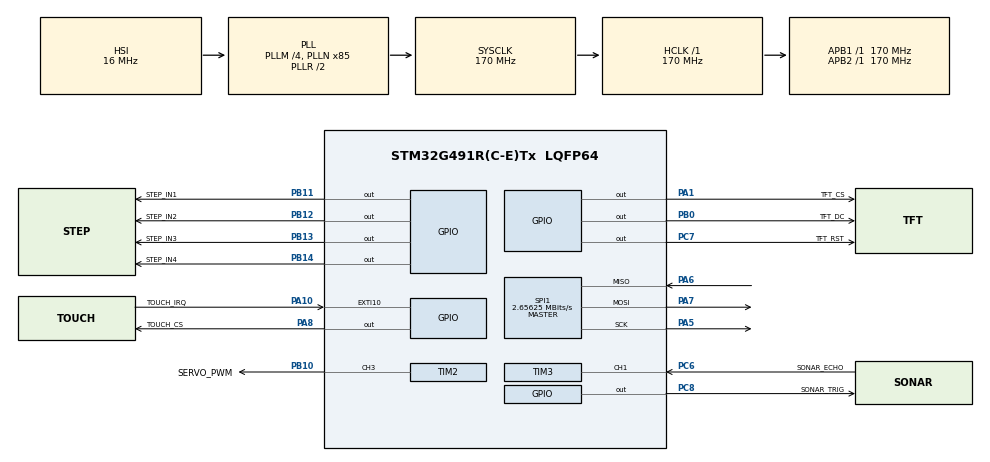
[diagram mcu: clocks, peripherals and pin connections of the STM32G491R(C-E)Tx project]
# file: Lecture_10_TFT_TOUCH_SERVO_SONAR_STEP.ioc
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Dma.Request0=SPI1_TX
Dma.Request1=SPI1_RX
Dma.SPI1_RX.1.Direction=DMA_PERIPH_TO_MEMORY
Dma.SPI1_RX.1.EventEnable=DISABLE
Dma.SPI1_RX.1.Instance=DMA1_Channel2
Dma.SPI1_RX.1.MemDataAlignment=DMA_MDATAALIGN_BYTE
Dma.SPI1_RX.1.MemInc=DMA_MINC_ENABLE
Dma.SPI1_RX.1.Mode=DMA_NORMAL
Dma.SPI1_RX.1.PeriphDataAlignment=DMA_PDATAALIGN_BYTE
Dma.SPI1_RX.1.PeriphInc=DMA_PINC_DISABLE
Dma.SPI1_RX.1.Polarity=HAL_DMAMUX_REQ_GEN_RISING
Dma.SPI1_RX.1.Priority=DMA_PRIORITY_LOW
Dma.SPI1_RX.1.RequestNumber=1
Dma.SPI1_RX.1.SignalID=NONE
Dma.SPI1_RX.1.SyncEnable=DISABLE
Dma.SPI1_RX.1.SyncPolarity=HAL_DMAMUX_SYNC_NO_EVENT
Dma.SPI1_RX.1.SyncRequestNumber=1
Dma.SPI1_RX.1.SyncSignalID=NONE
Dma.SPI1_TX.0.Direction=DMA_MEMORY_TO_PERIPH
Dma.SPI1_TX.0.EventEnable=DISABLE
Dma.SPI1_TX.0.Instance=DMA1_Channel1
Dma.SPI1_TX.0.MemDataAlignment=DMA_MDATAALIGN_BYTE
Dma.SPI1_TX.0.MemInc=DMA_MINC_ENABLE
Dma.SPI1_TX.0.Mode=DMA_NORMAL
Dma.SPI1_TX.0.PeriphDataAlignment=DMA_PDATAALIGN_BYTE
Dma.SPI1_TX.0.PeriphInc=DMA_PINC_DISABLE
Dma.SPI1_TX.0.Polarity=HAL_DMAMUX_REQ_GEN_RISING
Dma.SPI1_TX.0.Priority=DMA_PRIORITY_HIGH
Dma.SPI1_TX.0.RequestNumber=1
Dma.SPI1_TX.0.SignalID=NONE
Dma.SPI1_TX.0.SyncEnable=DISABLE
Dma.SPI1_TX.0.SyncPolarity=HAL_DMAMUX_SYNC_NO_EVENT
Dma.SPI1_TX.0.SyncRequestNumber=1
Dma.SPI1_TX.0.SyncSignalID=NONE
Mcu.Family=STM32G4
Mcu.Name=STM32G491R(C-E)Tx
Mcu.Package=LQFP64
NVIC.DMA1_Channel1_IRQn=true\:0\:0\:false\:false\:true\:false\:true\:true
NVIC.DMA1_Channel2_IRQn=true\:0\:0\:false\:false\:true\:false\:true\:true
NVIC.EXTI15_10_IRQn=true\:0\:0\:false\:false\:true\:true\:true\:true
NVIC.PriorityGroup=NVIC_PRIORITYGROUP_4
NVIC.TIM3_IRQn=true\:0\:0\:false\:false\:true\:true\:true\:true
PA1.GPIO_Label=TFT_CS
PA1.GPIO_PuPd=GPIO_PULLUP
PA1.PinState=GPIO_PIN_SET
PA1.Signal=GPIO_Output
PA10.GPIO_Label=TOUCH_IRQ
PA10.GPIO_PuPd=GPIO_PULLUP
PA10.Signal=GPXTI10
PA13.GPIO_Label=T_SWDIO
PA13.Signal=SYS_JTMS-SWDIO
PA14.GPIO_Label=T_SWCLK
PA14.Signal=SYS_JTCK-SWCLK
PA2.GPIO_Label=LPUART1_TX [STLINKV3E_VCP_RX]
PA2.Signal=LPUART1_TX
PA3.GPIO_Label=LPUART1_RX [STLINKV3E_VCP_TX]
PA3.Signal=LPUART1_RX
PA5.Mode=Full_Duplex_Master
PA5.Signal=SPI1_SCK
PA6.Mode=Full_Duplex_Master
PA6.Signal=SPI1_MISO
PA7.Mode=Full_Duplex_Master
PA7.Signal=SPI1_MOSI
PA8.GPIO_Label=TOUCH_CS
PA8.GPIO_PuPd=GPIO_PULLUP
PA8.PinState=GPIO_PIN_SET
PA8.Signal=GPIO_Output
PB0.GPIO_Label=TFT_DC
PB0.Signal=GPIO_Output
PB10.GPIO_Label=SERVO_PWM
PB10.Signal=S_TIM2_CH3
PB11.GPIO_Label=STEP_IN1
PB11.Signal=GPIO_Output
PB12.GPIO_Label=STEP_IN2
PB12.Signal=GPIO_Output
PB13.GPIO_Label=STEP_IN3
PB13.Signal=GPIO_Output
PB14.GPIO_Label=STEP_IN4
PB14.Signal=GPIO_Output
PB3.GPIO_Label=T_SWO
PB3.Signal=SYS_JTDO-SWO
PC14-OSC32_IN.GPIO_Label=RCC_OSC32_IN
PC14-OSC32_IN.Signal=RCC_OSC32_IN
PC15-OSC32_OUT.GPIO_Label=RCC_OSC32_OUT
PC15-OSC32_OUT.Signal=RCC_OSC32_OUT
PC6.GPIO_Label=SONAR_ECHO
PC6.Signal=S_TIM3_CH1
PC7.GPIO_Label=TFT_RST
PC7.GPIO_PuPd=GPIO_PULLUP
PC7.PinState=GPIO_PIN_SET
PC7.Signal=GPIO_Output
PC8.GPIO_Label=SONAR_TRIG
PC8.Signal=GPIO_Output
PF0-OSC_IN.GPIO_Label=RCC_OSC_IN
PF0-OSC_IN.Signal=RCC_OSC_IN
PF1-OSC_OUT.GPIO_Label=RCC_OSC_OUT
PF1-OSC_OUT.Signal=RCC_OSC_OUT
ProjectManager.HeapSize=0x200
ProjectManager.StackSize=0x400
ProjectManager.TargetToolchain=STM32CubeIDE
RCC.ADC12Freq_Value=170000000
RCC.ADC345Freq_Value=170000000
RCC.AHBFreq_Value=170000000
RCC.APB1Freq_Value=170000000
RCC.APB1TimFreq_Value=170000000
RCC.APB2Freq_Value=170000000
RCC.APB2TimFreq_Value=170000000
RCC.CortexFreq_Value=170000000
RCC.EXTERNAL_CLOCK_VALUE=12288000
RCC.HCLKFreq_Value=170000000
RCC.HSE_VALUE=24000000
RCC.HSI48_VALUE=48000000
RCC.HSI_VALUE=16000000
RCC.LSE_VALUE=32768
RCC.PLLM=RCC_PLLM_DIV4
RCC.PLLN=85
RCC.RTCClockSelection=RCC_RTCCLKSOURCE_LSE
RCC.SYSCLKFreq_VALUE=170000000
RCC.SYSCLKSource=RCC_SYSCLKSOURCE_PLLCLK
RCC.USBFreq_Value=48000000
RCC.VCOOutputFreq_Value=340000000
SH.S_TIM2_CH3.0=TIM2_CH3,PWM Generation3 CH3
SH.S_TIM3_CH1.0=TIM3_CH1,Input_Capture1_from_TI1
SPI1.BaudRatePrescaler=SPI_BAUDRATEPRESCALER_64
SPI1.CalculateBaudRate=2.65625 MBits/s
SPI1.DataSize=SPI_DATASIZE_8BIT
SPI1.Direction=SPI_DIRECTION_2LINES
SPI1.Mode=SPI_MODE_MASTER
SPI1.VirtualType=VM_MASTER
TIM2.Channel-PWM\ Generation3\ CH3=TIM_CHANNEL_3
TIM2.PeriodNoDither=19999
TIM2.Prescaler=169
TIM3.Channel-Input_Capture1_from_TI1=TIM_CHANNEL_1
TIM3.ICPolarity_CH1=TIM_INPUTCHANNELPOLARITY_BOTHEDGE
TIM3.Prescaler=169
VP_SYS_VS_DBSignals.Mode=DisableDeadBatterySignals
VP_TIM2_VS_ClockSourceINT.Mode=Internal
VP_TIM3_VS_ClockSourceINT.Mode=Internal
board=NUCLEO-G491RE

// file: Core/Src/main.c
/* USER CODE BEGIN Header */
/**
 ******************************************************************************
 * @file           : main.c
 * @brief          : Project 3 - scanning sonar with pointer
 ******************************************************************************
 */
/* USER CODE END Header */
#include "main.h"
#include "dma.h"
#include "spi.h"
#include "tim.h"
#include "gpio.h"

/* USER CODE BEGIN Includes */
#include "flash_config.h"
#include "gui_screens.h"
#include "ili9341.h"
#include "scan_engine.h"
#include "servo.h"
#include "sonar.h"
#include "stepper_map.h"
#include "target_finder.h"
#include "xpt2046.h"
/* USER CODE END Includes */

/* USER CODE BEGIN PV */
static SonarConfig_t app_config;
static ScanState_t scan_state;
static TargetResult_t last_target;
static float last_measured_dist = 0.0f;
static uint16_t last_servo_pos = 0U;
/* USER CODE END PV */

void SystemClock_Config(void);

/* USER CODE BEGIN PFP */
static void App_HandleScanLogic(GUI_Action_t action);
/* USER CODE END PFP */

int main(void)
{
  GUI_Action_t gui_action;

  HAL_Init();
  SystemClock_Config();

  MX_GPIO_Init();
  MX_DMA_Init();
  MX_SPI1_Init();
  MX_TIM2_Init();
  MX_TIM3_Init();

  /* USER CODE BEGIN 2 */
  HAL_GPIO_WritePin(TFT_CS_GPIO_Port, TFT_CS_Pin, GPIO_PIN_SET);
  HAL_GPIO_WritePin(TOUCH_CS_GPIO_Port, TOUCH_CS_Pin, GPIO_PIN_SET);

  ILI9341_Init(&hspi1);
  ILI9341_FillScreen(ILI9341_BLACK);
  XPT2046_Init(&hspi1);

  Servo_Init(&htim2, TIM_CHANNEL_3);
  Sonar_Init(&htim3, TIM_CHANNEL_1);
  StepperMap_Init();

  (void)FlashConfig_Load(&app_config);
  XPT2046_ApplyCalibration(&app_config);
  StepperMap_SetPosition(app_config.stepper_left);

  Scan_Init(&scan_state);
  Target_ResetResult(&last_target);

  GUI_Init(&app_config);
  /* USER CODE END 2 */

  while (1)
  {
    if (GUI_GetScreen() == GUI_SCREEN_DIAGNOSTIC)
    {
      XPT2046_Task();
    }

    gui_action = GUI_Task(&app_config);
    App_HandleScanLogic(gui_action);

    if (GUI_GetScreen() == GUI_SCREEN_SCAN)
    {
      if (Scan_Task(&scan_state, &app_config) != 0U)
      {
        uint8_t bar = scan_state.current_bar;
        TargetResult_t live_target;
        TargetResult_t closest_target;
        uint8_t count = (uint8_t)(bar + 1U);

        last_measured_dist = scan_state.distances[bar];
        last_servo_pos = scan_state.servo_positions[bar];

        live_target.found = scan_state.valid[bar];
        live_target.bar_index = bar;
        live_target.distance_cm = scan_state.distances[bar];
        live_target.servo_pos = scan_state.servo_positions[bar];

        closest_target = Target_FindClosest(scan_state.distances,
                                            scan_state.valid,
                                            scan_state.servo_positions,
                                            count);

        GUI_DrawScanFrame(&scan_state, &live_target, &closest_target);
      }

      if (scan_state.sweep_done != 0U)
      {
        last_target = Target_FindClosest(scan_state.distances,
                                         scan_state.valid,
                                         scan_state.servo_positions,
                                         SCAN_BAR_COUNT);

        if (last_target.found != 0U)
        {
          StepperMap_GotoServo(last_target.servo_pos, &app_config);
        }

        GUI_DrawScanFrame(&scan_state, &last_target, &last_target);
        scan_state.sweep_done = 0U;

        if (GUI_IsContinuousScan() != 0U)
        {
          Scan_Start(&scan_state, &app_config);
        }
      }
    }

    GUI_UpdateDiagnostic(scan_state.timeout_count,
                         last_measured_dist,
                         last_servo_pos);
  }
}

static void App_HandleScanLogic(GUI_Action_t action)
{
  switch (action)
  {
    case GUI_ACTION_START_SCAN:
      GUI_SetScreen(GUI_SCREEN_SCAN);
      Scan_Start(&scan_state, &app_config);
      Target_ResetResult(&last_target);
      break;

    case GUI_ACTION_STOP_SCAN:
      Scan_Stop(&scan_state);
      GUI_SetScreen(GUI_SCREEN_CONFIG);
      (void)FlashConfig_Save(&app_config);
      break;

    case GUI_ACTION_BACK_CONFIG:
    case GUI_ACTION_SAVE_CALIB:
      (void)FlashConfig_Save(&app_config);
      break;

    default:
      break;
  }
}

void SystemClock_Config(void)
{
  RCC_OscInitTypeDef RCC_OscInitStruct = {0};
  RCC_ClkInitTypeDef RCC_ClkInitStruct = {0};

  HAL_PWREx_ControlVoltageScaling(PWR_REGULATOR_VOLTAGE_SCALE1_BOOST);

  RCC_OscInitStruct.OscillatorType = RCC_OSCILLATORTYPE_HSI;
  RCC_OscInitStruct.HSIState = RCC_HSI_ON;
  RCC_OscInitStruct.HSICalibrationValue = RCC_HSICALIBRATION_DEFAULT;
  RCC_OscInitStruct.PLL.PLLState = RCC_PLL_ON;
  RCC_OscInitStruct.PLL.PLLSource = RCC_PLLSOURCE_HSI;
  RCC_OscInitStruct.PLL.PLLM = RCC_PLLM_DIV4;
  RCC_OscInitStruct.PLL.PLLN = 85;
  RCC_OscInitStruct.PLL.PLLP = RCC_PLLP_DIV2;
  RCC_OscInitStruct.PLL.PLLQ = RCC_PLLQ_DIV2;
  RCC_OscInitStruct.PLL.PLLR = RCC_PLLR_DIV2;
  if (HAL_RCC_OscConfig(&RCC_OscInitStruct) != HAL_OK)
  {
    Error_Handler();
  }

  RCC_ClkInitStruct.ClockType = RCC_CLOCKTYPE_HCLK | RCC_CLOCKTYPE_SYSCLK
                              | RCC_CLOCKTYPE_PCLK1 | RCC_CLOCKTYPE_PCLK2;
  RCC_ClkInitStruct.SYSCLKSource = RCC_SYSCLKSOURCE_PLLCLK;
  RCC_ClkInitStruct.AHBCLKDivider = RCC_SYSCLK_DIV1;
  RCC_ClkInitStruct.APB1CLKDivider = RCC_HCLK_DIV1;
  RCC_ClkInitStruct.APB2CLKDivider = RCC_HCLK_DIV1;

  if (HAL_RCC_ClockConfig(&RCC_ClkInitStruct, FLASH_LATENCY_4) != HAL_OK)
  {
    Error_Handler();
  }
}

/* USER CODE BEGIN 4 */
void HAL_GPIO_EXTI_Callback(uint16_t GPIO_Pin)
{
  XPT2046_EXTI_Callback(GPIO_Pin);
}

void HAL_TIM_IC_CaptureCallback(TIM_HandleTypeDef *htim)
{
  Sonar_IC_CaptureCallback(htim);
}
/* USER CODE END 4 */

void Error_Handler(void)
{
  __disable_irq();
  while (1)
  {
  }
}
